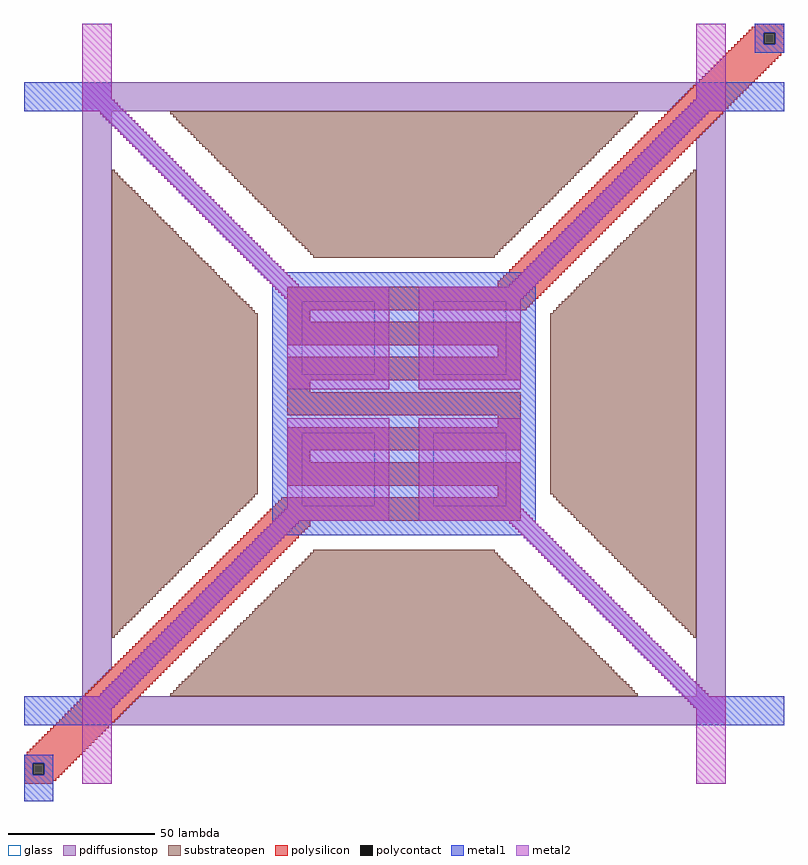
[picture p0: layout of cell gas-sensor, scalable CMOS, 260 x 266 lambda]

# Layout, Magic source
magic
tech scmos
<< polysilicon >>
rect 250 265 260 266
rect 249 264 260 265
rect 248 263 260 264
rect 247 262 253 263
rect 246 261 253 262
rect 245 260 253 261
rect 244 259 253 260
rect 257 259 260 263
rect 243 258 260 259
rect 242 257 260 258
rect 241 256 260 257
rect 240 255 259 256
rect 239 254 258 255
rect 238 253 257 254
rect 237 252 256 253
rect 236 251 255 252
rect 235 250 254 251
rect 234 249 253 250
rect 233 248 252 249
rect 232 247 251 248
rect 231 246 250 247
rect 230 245 249 246
rect 229 244 248 245
rect 228 243 247 244
rect 227 242 246 243
rect 226 241 245 242
rect 225 240 244 241
rect 224 239 243 240
rect 223 238 242 239
rect 222 237 241 238
rect 221 236 240 237
rect 220 235 239 236
rect 219 234 238 235
rect 218 233 237 234
rect 217 232 236 233
rect 216 231 235 232
rect 215 230 234 231
rect 214 229 233 230
rect 213 228 232 229
rect 212 227 231 228
rect 211 226 230 227
rect 210 225 229 226
rect 209 224 228 225
rect 208 223 227 224
rect 207 222 226 223
rect 206 221 225 222
rect 205 220 224 221
rect 204 219 223 220
rect 203 218 222 219
rect 202 217 221 218
rect 201 216 220 217
rect 200 215 219 216
rect 199 214 218 215
rect 198 213 217 214
rect 197 212 216 213
rect 196 211 215 212
rect 195 210 214 211
rect 194 209 213 210
rect 193 208 212 209
rect 192 207 211 208
rect 191 206 210 207
rect 190 205 209 206
rect 189 204 208 205
rect 188 203 207 204
rect 187 202 206 203
rect 186 201 205 202
rect 185 200 204 201
rect 184 199 203 200
rect 183 198 202 199
rect 182 197 201 198
rect 181 196 200 197
rect 180 195 199 196
rect 179 194 198 195
rect 178 193 197 194
rect 177 192 196 193
rect 176 191 195 192
rect 175 190 194 191
rect 174 189 193 190
rect 173 188 192 189
rect 172 187 191 188
rect 171 186 190 187
rect 170 185 189 186
rect 169 184 188 185
rect 168 183 187 184
rect 167 182 186 183
rect 166 181 185 182
rect 165 180 184 181
rect 164 179 183 180
rect 163 178 182 179
rect 162 177 181 178
rect 162 176 180 177
rect 90 175 179 176
rect 90 174 178 175
rect 90 173 177 174
rect 90 172 176 173
rect 90 171 175 172
rect 90 170 174 171
rect 90 169 173 170
rect 90 168 172 169
rect 90 164 98 168
rect 90 156 170 164
rect 162 152 170 156
rect 90 144 170 152
rect 90 140 98 144
rect 90 132 170 140
rect 162 128 170 132
rect 90 120 170 128
rect 90 116 98 120
rect 90 108 170 116
rect 162 104 170 108
rect 88 103 170 104
rect 87 102 170 103
rect 86 101 170 102
rect 85 100 170 101
rect 84 99 170 100
rect 83 98 170 99
rect 82 97 170 98
rect 81 96 170 97
rect 80 95 98 96
rect 79 94 98 95
rect 78 93 97 94
rect 77 92 96 93
rect 76 91 95 92
rect 75 90 94 91
rect 74 89 93 90
rect 73 88 92 89
rect 72 87 91 88
rect 71 86 90 87
rect 70 85 89 86
rect 69 84 88 85
rect 68 83 87 84
rect 67 82 86 83
rect 66 81 85 82
rect 65 80 84 81
rect 64 79 83 80
rect 63 78 82 79
rect 62 77 81 78
rect 61 76 80 77
rect 60 75 79 76
rect 59 74 78 75
rect 58 73 77 74
rect 57 72 76 73
rect 56 71 75 72
rect 55 70 74 71
rect 54 69 73 70
rect 53 68 72 69
rect 52 67 71 68
rect 51 66 70 67
rect 50 65 69 66
rect 49 64 68 65
rect 48 63 67 64
rect 47 62 66 63
rect 46 61 65 62
rect 45 60 64 61
rect 44 59 63 60
rect 43 58 62 59
rect 42 57 61 58
rect 41 56 60 57
rect 40 55 59 56
rect 39 54 58 55
rect 38 53 57 54
rect 37 52 56 53
rect 36 51 55 52
rect 35 50 54 51
rect 34 49 53 50
rect 33 48 52 49
rect 32 47 51 48
rect 31 46 50 47
rect 30 45 49 46
rect 29 44 48 45
rect 28 43 47 44
rect 27 42 46 43
rect 26 41 45 42
rect 25 40 44 41
rect 24 39 43 40
rect 23 38 42 39
rect 22 37 41 38
rect 21 36 40 37
rect 20 35 39 36
rect 19 34 38 35
rect 18 33 37 34
rect 17 32 36 33
rect 16 31 35 32
rect 15 30 34 31
rect 14 29 33 30
rect 13 28 32 29
rect 12 27 31 28
rect 11 26 30 27
rect 10 25 29 26
rect 9 24 28 25
rect 8 23 27 24
rect 7 22 26 23
rect 6 21 25 22
rect 5 20 24 21
rect 4 19 23 20
rect 3 18 22 19
rect 2 17 21 18
rect 1 16 20 17
rect 0 15 19 16
rect 0 14 18 15
rect 0 13 17 14
rect 0 9 3 13
rect 7 12 16 13
rect 7 11 15 12
rect 7 10 14 11
rect 7 9 13 10
rect 0 8 12 9
rect 0 7 11 8
rect 0 6 10 7
<< metal1 >>
rect 250 263 260 266
rect 250 259 253 263
rect 257 259 260 263
rect 250 256 260 259
rect 0 240 30 246
rect 230 240 260 246
rect 0 239 31 240
rect 229 239 260 240
rect 0 238 32 239
rect 228 238 260 239
rect 0 237 33 238
rect 227 237 260 238
rect 0 236 34 237
rect 226 236 260 237
rect 26 235 35 236
rect 225 235 234 236
rect 27 234 36 235
rect 224 234 233 235
rect 28 233 37 234
rect 223 233 232 234
rect 29 232 38 233
rect 222 232 231 233
rect 30 231 39 232
rect 221 231 230 232
rect 31 230 40 231
rect 220 230 229 231
rect 32 229 41 230
rect 219 229 228 230
rect 33 228 42 229
rect 218 228 227 229
rect 34 227 43 228
rect 217 227 226 228
rect 35 226 44 227
rect 216 226 225 227
rect 36 225 45 226
rect 215 225 224 226
rect 37 224 46 225
rect 214 224 223 225
rect 38 223 47 224
rect 213 223 222 224
rect 39 222 48 223
rect 212 222 221 223
rect 40 221 49 222
rect 211 221 220 222
rect 41 220 50 221
rect 210 220 219 221
rect 42 219 51 220
rect 209 219 218 220
rect 43 218 52 219
rect 208 218 217 219
rect 44 217 53 218
rect 207 217 216 218
rect 45 216 54 217
rect 206 216 215 217
rect 46 215 55 216
rect 205 215 214 216
rect 47 214 56 215
rect 204 214 213 215
rect 48 213 57 214
rect 203 213 212 214
rect 49 212 58 213
rect 202 212 211 213
rect 50 211 59 212
rect 201 211 210 212
rect 51 210 60 211
rect 200 210 209 211
rect 52 209 61 210
rect 199 209 208 210
rect 53 208 62 209
rect 198 208 207 209
rect 54 207 63 208
rect 197 207 206 208
rect 55 206 64 207
rect 196 206 205 207
rect 56 205 65 206
rect 195 205 204 206
rect 57 204 66 205
rect 194 204 203 205
rect 58 203 67 204
rect 193 203 202 204
rect 59 202 68 203
rect 192 202 201 203
rect 60 201 69 202
rect 191 201 200 202
rect 61 200 70 201
rect 190 200 199 201
rect 62 199 71 200
rect 189 199 198 200
rect 63 198 72 199
rect 188 198 197 199
rect 64 197 73 198
rect 187 197 196 198
rect 65 196 74 197
rect 186 196 195 197
rect 66 195 75 196
rect 185 195 194 196
rect 67 194 76 195
rect 184 194 193 195
rect 68 193 77 194
rect 183 193 192 194
rect 69 192 78 193
rect 182 192 191 193
rect 70 191 79 192
rect 181 191 190 192
rect 71 190 80 191
rect 180 190 189 191
rect 72 189 81 190
rect 179 189 188 190
rect 73 188 82 189
rect 178 188 187 189
rect 74 187 83 188
rect 177 187 186 188
rect 75 186 84 187
rect 176 186 185 187
rect 76 185 85 186
rect 175 185 184 186
rect 77 184 86 185
rect 174 184 183 185
rect 78 183 87 184
rect 173 183 182 184
rect 79 182 88 183
rect 172 182 181 183
rect 80 181 89 182
rect 171 181 180 182
rect 81 180 179 181
rect 82 179 178 180
rect 83 178 177 179
rect 84 177 176 178
rect 85 95 175 177
rect 84 94 176 95
rect 83 93 177 94
rect 82 92 178 93
rect 81 91 179 92
rect 80 90 89 91
rect 171 90 180 91
rect 79 89 88 90
rect 172 89 181 90
rect 78 88 87 89
rect 173 88 182 89
rect 77 87 86 88
rect 174 87 183 88
rect 76 86 85 87
rect 175 86 184 87
rect 75 85 84 86
rect 176 85 185 86
rect 74 84 83 85
rect 177 84 186 85
rect 73 83 82 84
rect 178 83 187 84
rect 72 82 81 83
rect 179 82 188 83
rect 71 81 80 82
rect 180 81 189 82
rect 70 80 79 81
rect 181 80 190 81
rect 69 79 78 80
rect 182 79 191 80
rect 68 78 77 79
rect 183 78 192 79
rect 67 77 76 78
rect 184 77 193 78
rect 66 76 75 77
rect 185 76 194 77
rect 65 75 74 76
rect 186 75 195 76
rect 64 74 73 75
rect 187 74 196 75
rect 63 73 72 74
rect 188 73 197 74
rect 62 72 71 73
rect 189 72 198 73
rect 61 71 70 72
rect 190 71 199 72
rect 60 70 69 71
rect 191 70 200 71
rect 59 69 68 70
rect 192 69 201 70
rect 58 68 67 69
rect 193 68 202 69
rect 57 67 66 68
rect 194 67 203 68
rect 56 66 65 67
rect 195 66 204 67
rect 55 65 64 66
rect 196 65 205 66
rect 54 64 63 65
rect 197 64 206 65
rect 53 63 62 64
rect 198 63 207 64
rect 52 62 61 63
rect 199 62 208 63
rect 51 61 60 62
rect 200 61 209 62
rect 50 60 59 61
rect 201 60 210 61
rect 49 59 58 60
rect 202 59 211 60
rect 48 58 57 59
rect 203 58 212 59
rect 47 57 56 58
rect 204 57 213 58
rect 46 56 55 57
rect 205 56 214 57
rect 45 55 54 56
rect 206 55 215 56
rect 44 54 53 55
rect 207 54 216 55
rect 43 53 52 54
rect 208 53 217 54
rect 42 52 51 53
rect 209 52 218 53
rect 41 51 50 52
rect 210 51 219 52
rect 40 50 49 51
rect 211 50 220 51
rect 39 49 48 50
rect 212 49 221 50
rect 38 48 47 49
rect 213 48 222 49
rect 37 47 46 48
rect 214 47 223 48
rect 36 46 45 47
rect 215 46 224 47
rect 35 45 44 46
rect 216 45 225 46
rect 34 44 43 45
rect 217 44 226 45
rect 33 43 42 44
rect 218 43 227 44
rect 32 42 41 43
rect 219 42 228 43
rect 31 41 40 42
rect 220 41 229 42
rect 30 40 39 41
rect 221 40 230 41
rect 29 39 38 40
rect 222 39 231 40
rect 28 38 37 39
rect 223 38 232 39
rect 27 37 36 38
rect 224 37 233 38
rect 26 36 35 37
rect 225 36 234 37
rect 0 35 34 36
rect 226 35 260 36
rect 0 34 33 35
rect 227 34 260 35
rect 0 33 32 34
rect 228 33 260 34
rect 0 32 31 33
rect 229 32 260 33
rect 0 26 30 32
rect 230 26 260 32
rect 0 13 10 16
rect 0 9 3 13
rect 7 9 10 13
rect 0 0 10 9
<< metal2 >>
rect 20 240 30 266
rect 230 240 240 266
rect 20 239 31 240
rect 229 239 240 240
rect 20 238 32 239
rect 228 238 240 239
rect 20 237 33 238
rect 227 237 240 238
rect 20 236 34 237
rect 226 236 240 237
rect 26 235 35 236
rect 225 235 234 236
rect 27 234 36 235
rect 224 234 233 235
rect 28 233 37 234
rect 223 233 232 234
rect 29 232 38 233
rect 222 232 231 233
rect 30 231 39 232
rect 221 231 230 232
rect 31 230 40 231
rect 220 230 229 231
rect 32 229 41 230
rect 219 229 228 230
rect 33 228 42 229
rect 218 228 227 229
rect 34 227 43 228
rect 217 227 226 228
rect 35 226 44 227
rect 216 226 225 227
rect 36 225 45 226
rect 215 225 224 226
rect 37 224 46 225
rect 214 224 223 225
rect 38 223 47 224
rect 213 223 222 224
rect 39 222 48 223
rect 212 222 221 223
rect 40 221 49 222
rect 211 221 220 222
rect 41 220 50 221
rect 210 220 219 221
rect 42 219 51 220
rect 209 219 218 220
rect 43 218 52 219
rect 208 218 217 219
rect 44 217 53 218
rect 207 217 216 218
rect 45 216 54 217
rect 206 216 215 217
rect 46 215 55 216
rect 205 215 214 216
rect 47 214 56 215
rect 204 214 213 215
rect 48 213 57 214
rect 203 213 212 214
rect 49 212 58 213
rect 202 212 211 213
rect 50 211 59 212
rect 201 211 210 212
rect 51 210 60 211
rect 200 210 209 211
rect 52 209 61 210
rect 199 209 208 210
rect 53 208 62 209
rect 198 208 207 209
rect 54 207 63 208
rect 197 207 206 208
rect 55 206 64 207
rect 196 206 205 207
rect 56 205 65 206
rect 195 205 204 206
rect 57 204 66 205
rect 194 204 203 205
rect 58 203 67 204
rect 193 203 202 204
rect 59 202 68 203
rect 192 202 201 203
rect 60 201 69 202
rect 191 201 200 202
rect 61 200 70 201
rect 190 200 199 201
rect 62 199 71 200
rect 189 199 198 200
rect 63 198 72 199
rect 188 198 197 199
rect 64 197 73 198
rect 187 197 196 198
rect 65 196 74 197
rect 186 196 195 197
rect 66 195 75 196
rect 185 195 194 196
rect 67 194 76 195
rect 184 194 193 195
rect 68 193 77 194
rect 183 193 192 194
rect 69 192 78 193
rect 182 192 191 193
rect 70 191 79 192
rect 181 191 190 192
rect 71 190 80 191
rect 180 190 189 191
rect 72 189 81 190
rect 179 189 188 190
rect 73 188 82 189
rect 178 188 187 189
rect 74 187 83 188
rect 177 187 186 188
rect 75 186 84 187
rect 176 186 185 187
rect 76 185 85 186
rect 175 185 184 186
rect 77 184 86 185
rect 174 184 183 185
rect 78 183 87 184
rect 173 183 182 184
rect 79 182 88 183
rect 172 182 181 183
rect 80 181 89 182
rect 171 181 180 182
rect 81 180 90 181
rect 170 180 179 181
rect 82 179 91 180
rect 169 179 178 180
rect 83 178 92 179
rect 168 178 177 179
rect 84 177 93 178
rect 167 177 176 178
rect 85 176 94 177
rect 166 176 175 177
rect 86 175 125 176
rect 87 174 125 175
rect 88 173 125 174
rect 89 172 125 173
rect 90 141 125 172
rect 135 175 174 176
rect 135 174 173 175
rect 135 173 172 174
rect 135 172 171 173
rect 135 141 170 172
rect 90 100 125 131
rect 89 99 125 100
rect 88 98 125 99
rect 87 97 125 98
rect 86 96 125 97
rect 135 100 170 131
rect 135 99 171 100
rect 135 98 172 99
rect 135 97 173 98
rect 135 96 174 97
rect 85 95 94 96
rect 166 95 175 96
rect 84 94 93 95
rect 167 94 176 95
rect 83 93 92 94
rect 168 93 177 94
rect 82 92 91 93
rect 169 92 178 93
rect 81 91 90 92
rect 170 91 179 92
rect 80 90 89 91
rect 171 90 180 91
rect 79 89 88 90
rect 172 89 181 90
rect 78 88 87 89
rect 173 88 182 89
rect 77 87 86 88
rect 174 87 183 88
rect 76 86 85 87
rect 175 86 184 87
rect 75 85 84 86
rect 176 85 185 86
rect 74 84 83 85
rect 177 84 186 85
rect 73 83 82 84
rect 178 83 187 84
rect 72 82 81 83
rect 179 82 188 83
rect 71 81 80 82
rect 180 81 189 82
rect 70 80 79 81
rect 181 80 190 81
rect 69 79 78 80
rect 182 79 191 80
rect 68 78 77 79
rect 183 78 192 79
rect 67 77 76 78
rect 184 77 193 78
rect 66 76 75 77
rect 185 76 194 77
rect 65 75 74 76
rect 186 75 195 76
rect 64 74 73 75
rect 187 74 196 75
rect 63 73 72 74
rect 188 73 197 74
rect 62 72 71 73
rect 189 72 198 73
rect 61 71 70 72
rect 190 71 199 72
rect 60 70 69 71
rect 191 70 200 71
rect 59 69 68 70
rect 192 69 201 70
rect 58 68 67 69
rect 193 68 202 69
rect 57 67 66 68
rect 194 67 203 68
rect 56 66 65 67
rect 195 66 204 67
rect 55 65 64 66
rect 196 65 205 66
rect 54 64 63 65
rect 197 64 206 65
rect 53 63 62 64
rect 198 63 207 64
rect 52 62 61 63
rect 199 62 208 63
rect 51 61 60 62
rect 200 61 209 62
rect 50 60 59 61
rect 201 60 210 61
rect 49 59 58 60
rect 202 59 211 60
rect 48 58 57 59
rect 203 58 212 59
rect 47 57 56 58
rect 204 57 213 58
rect 46 56 55 57
rect 205 56 214 57
rect 45 55 54 56
rect 206 55 215 56
rect 44 54 53 55
rect 207 54 216 55
rect 43 53 52 54
rect 208 53 217 54
rect 42 52 51 53
rect 209 52 218 53
rect 41 51 50 52
rect 210 51 219 52
rect 40 50 49 51
rect 211 50 220 51
rect 39 49 48 50
rect 212 49 221 50
rect 38 48 47 49
rect 213 48 222 49
rect 37 47 46 48
rect 214 47 223 48
rect 36 46 45 47
rect 215 46 224 47
rect 35 45 44 46
rect 216 45 225 46
rect 34 44 43 45
rect 217 44 226 45
rect 33 43 42 44
rect 218 43 227 44
rect 32 42 41 43
rect 219 42 228 43
rect 31 41 40 42
rect 220 41 229 42
rect 30 40 39 41
rect 221 40 230 41
rect 29 39 38 40
rect 222 39 231 40
rect 28 38 37 39
rect 223 38 232 39
rect 27 37 36 38
rect 224 37 233 38
rect 26 36 35 37
rect 225 36 234 37
rect 20 35 34 36
rect 226 35 240 36
rect 20 34 33 35
rect 227 34 240 35
rect 20 33 32 34
rect 228 33 240 34
rect 20 32 31 33
rect 229 32 240 33
rect 20 6 30 32
rect 230 6 240 32
<< polycontact >>
rect 253 259 257 263
rect 3 9 7 13
<< substrateopen >>
rect 50 235 210 236
rect 51 234 209 235
rect 52 233 208 234
rect 53 232 207 233
rect 54 231 206 232
rect 55 230 205 231
rect 56 229 204 230
rect 57 228 203 229
rect 58 227 202 228
rect 59 226 201 227
rect 60 225 200 226
rect 61 224 199 225
rect 62 223 198 224
rect 63 222 197 223
rect 64 221 196 222
rect 65 220 195 221
rect 66 219 194 220
rect 67 218 193 219
rect 68 217 192 218
rect 69 216 191 217
rect 30 215 31 216
rect 70 215 190 216
rect 229 215 230 216
rect 30 214 32 215
rect 71 214 189 215
rect 228 214 230 215
rect 30 213 33 214
rect 72 213 188 214
rect 227 213 230 214
rect 30 212 34 213
rect 73 212 187 213
rect 226 212 230 213
rect 30 211 35 212
rect 74 211 186 212
rect 225 211 230 212
rect 30 210 36 211
rect 75 210 185 211
rect 224 210 230 211
rect 30 209 37 210
rect 76 209 184 210
rect 223 209 230 210
rect 30 208 38 209
rect 77 208 183 209
rect 222 208 230 209
rect 30 207 39 208
rect 78 207 182 208
rect 221 207 230 208
rect 30 206 40 207
rect 79 206 181 207
rect 220 206 230 207
rect 30 205 41 206
rect 80 205 180 206
rect 219 205 230 206
rect 30 204 42 205
rect 81 204 179 205
rect 218 204 230 205
rect 30 203 43 204
rect 82 203 178 204
rect 217 203 230 204
rect 30 202 44 203
rect 83 202 177 203
rect 216 202 230 203
rect 30 201 45 202
rect 84 201 176 202
rect 215 201 230 202
rect 30 200 46 201
rect 85 200 175 201
rect 214 200 230 201
rect 30 199 47 200
rect 86 199 174 200
rect 213 199 230 200
rect 30 198 48 199
rect 87 198 173 199
rect 212 198 230 199
rect 30 197 49 198
rect 88 197 172 198
rect 211 197 230 198
rect 30 196 50 197
rect 89 196 171 197
rect 210 196 230 197
rect 30 195 51 196
rect 90 195 170 196
rect 209 195 230 196
rect 30 194 52 195
rect 91 194 169 195
rect 208 194 230 195
rect 30 193 53 194
rect 92 193 168 194
rect 207 193 230 194
rect 30 192 54 193
rect 93 192 167 193
rect 206 192 230 193
rect 30 191 55 192
rect 94 191 166 192
rect 205 191 230 192
rect 30 190 56 191
rect 95 190 165 191
rect 204 190 230 191
rect 30 189 57 190
rect 96 189 164 190
rect 203 189 230 190
rect 30 188 58 189
rect 97 188 163 189
rect 202 188 230 189
rect 30 187 59 188
rect 98 187 162 188
rect 201 187 230 188
rect 30 186 60 187
rect 99 186 161 187
rect 200 186 230 187
rect 30 185 61 186
rect 199 185 230 186
rect 30 184 62 185
rect 198 184 230 185
rect 30 183 63 184
rect 197 183 230 184
rect 30 182 64 183
rect 196 182 230 183
rect 30 181 65 182
rect 195 181 230 182
rect 30 180 66 181
rect 194 180 230 181
rect 30 179 67 180
rect 193 179 230 180
rect 30 178 68 179
rect 192 178 230 179
rect 30 177 69 178
rect 191 177 230 178
rect 30 176 70 177
rect 190 176 230 177
rect 30 175 71 176
rect 189 175 230 176
rect 30 174 72 175
rect 188 174 230 175
rect 30 173 73 174
rect 187 173 230 174
rect 30 172 74 173
rect 186 172 230 173
rect 30 171 75 172
rect 185 171 230 172
rect 30 170 76 171
rect 30 169 77 170
rect 30 168 78 169
rect 30 167 79 168
rect 30 105 80 167
rect 184 170 230 171
rect 183 169 230 170
rect 182 168 230 169
rect 181 167 230 168
rect 30 104 79 105
rect 30 103 78 104
rect 30 102 77 103
rect 30 101 76 102
rect 180 105 230 167
rect 181 104 230 105
rect 182 103 230 104
rect 183 102 230 103
rect 184 101 230 102
rect 30 100 75 101
rect 185 100 230 101
rect 30 99 74 100
rect 186 99 230 100
rect 30 98 73 99
rect 187 98 230 99
rect 30 97 72 98
rect 188 97 230 98
rect 30 96 71 97
rect 189 96 230 97
rect 30 95 70 96
rect 190 95 230 96
rect 30 94 69 95
rect 191 94 230 95
rect 30 93 68 94
rect 192 93 230 94
rect 30 92 67 93
rect 193 92 230 93
rect 30 91 66 92
rect 194 91 230 92
rect 30 90 65 91
rect 195 90 230 91
rect 30 89 64 90
rect 196 89 230 90
rect 30 88 63 89
rect 197 88 230 89
rect 30 87 62 88
rect 198 87 230 88
rect 30 86 61 87
rect 199 86 230 87
rect 30 85 60 86
rect 99 85 161 86
rect 200 85 230 86
rect 30 84 59 85
rect 98 84 162 85
rect 201 84 230 85
rect 30 83 58 84
rect 97 83 163 84
rect 202 83 230 84
rect 30 82 57 83
rect 96 82 164 83
rect 203 82 230 83
rect 30 81 56 82
rect 95 81 165 82
rect 204 81 230 82
rect 30 80 55 81
rect 94 80 166 81
rect 205 80 230 81
rect 30 79 54 80
rect 93 79 167 80
rect 206 79 230 80
rect 30 78 53 79
rect 92 78 168 79
rect 207 78 230 79
rect 30 77 52 78
rect 91 77 169 78
rect 208 77 230 78
rect 30 76 51 77
rect 90 76 170 77
rect 209 76 230 77
rect 30 75 50 76
rect 89 75 171 76
rect 210 75 230 76
rect 30 74 49 75
rect 88 74 172 75
rect 211 74 230 75
rect 30 73 48 74
rect 87 73 173 74
rect 212 73 230 74
rect 30 72 47 73
rect 86 72 174 73
rect 213 72 230 73
rect 30 71 46 72
rect 85 71 175 72
rect 214 71 230 72
rect 30 70 45 71
rect 84 70 176 71
rect 215 70 230 71
rect 30 69 44 70
rect 83 69 177 70
rect 216 69 230 70
rect 30 68 43 69
rect 82 68 178 69
rect 217 68 230 69
rect 30 67 42 68
rect 81 67 179 68
rect 218 67 230 68
rect 30 66 41 67
rect 80 66 180 67
rect 219 66 230 67
rect 30 65 40 66
rect 79 65 181 66
rect 220 65 230 66
rect 30 64 39 65
rect 78 64 182 65
rect 221 64 230 65
rect 30 63 38 64
rect 77 63 183 64
rect 222 63 230 64
rect 30 62 37 63
rect 76 62 184 63
rect 223 62 230 63
rect 30 61 36 62
rect 75 61 185 62
rect 224 61 230 62
rect 30 60 35 61
rect 74 60 186 61
rect 225 60 230 61
rect 30 59 34 60
rect 73 59 187 60
rect 226 59 230 60
rect 30 58 33 59
rect 72 58 188 59
rect 227 58 230 59
rect 30 57 32 58
rect 71 57 189 58
rect 228 57 230 58
rect 30 56 31 57
rect 70 56 190 57
rect 229 56 230 57
rect 69 55 191 56
rect 68 54 192 55
rect 67 53 193 54
rect 66 52 194 53
rect 65 51 195 52
rect 64 50 196 51
rect 63 49 197 50
rect 62 48 198 49
rect 61 47 199 48
rect 60 46 200 47
rect 59 45 201 46
rect 58 44 202 45
rect 57 43 203 44
rect 56 42 204 43
rect 55 41 205 42
rect 54 40 206 41
rect 53 39 207 40
rect 52 38 208 39
rect 51 37 209 38
rect 50 36 210 37
<< pdiffusionstop >>
rect 20 245 230 246
rect 20 244 229 245
rect 20 243 228 244
rect 20 242 227 243
rect 20 241 226 242
rect 20 240 225 241
rect 20 239 224 240
rect 20 238 223 239
rect 20 237 222 238
rect 20 236 221 237
rect 20 45 30 236
rect 239 235 240 236
rect 238 234 240 235
rect 237 233 240 234
rect 236 232 240 233
rect 235 231 240 232
rect 234 230 240 231
rect 233 229 240 230
rect 232 228 240 229
rect 231 227 240 228
rect 20 44 29 45
rect 20 43 28 44
rect 20 42 27 43
rect 20 41 26 42
rect 20 40 25 41
rect 20 39 24 40
rect 20 38 23 39
rect 20 37 22 38
rect 20 36 21 37
rect 230 36 240 227
rect 39 35 240 36
rect 38 34 240 35
rect 37 33 240 34
rect 36 32 240 33
rect 35 31 240 32
rect 34 30 240 31
rect 33 29 240 30
rect 32 28 240 29
rect 31 27 240 28
rect 30 26 240 27
<< glass >>
rect 95 146 120 171
rect 140 146 165 171
rect 95 101 120 126
rect 140 101 165 126
<< end >>
